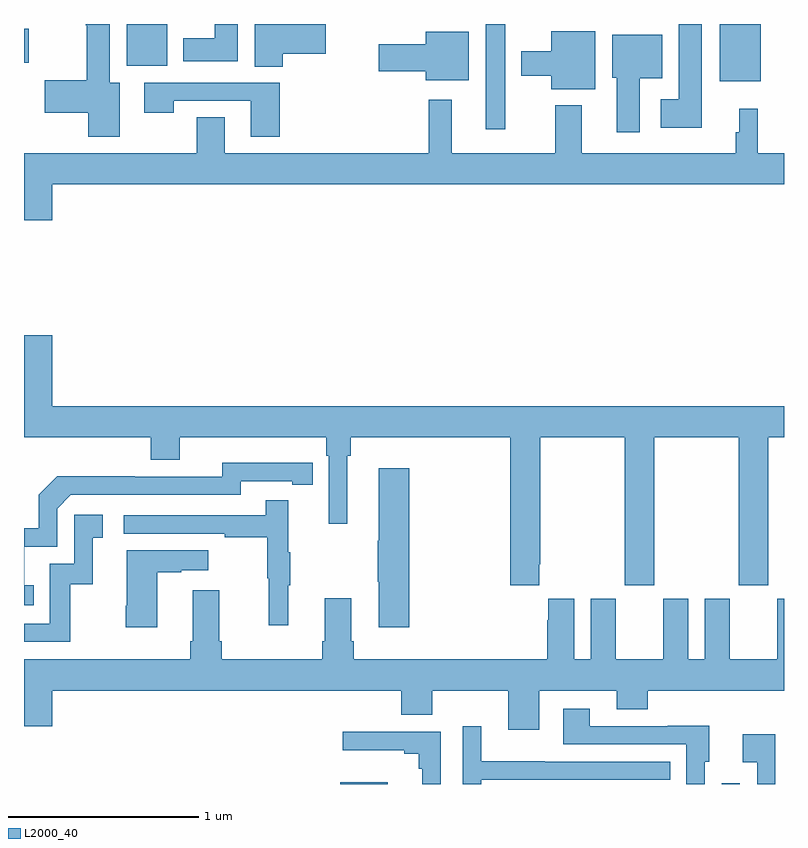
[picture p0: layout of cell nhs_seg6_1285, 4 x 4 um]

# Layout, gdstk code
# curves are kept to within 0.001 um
import gdstk
lib = gdstk.Library(unit=1e-6, precision=1e-09)
def R(c, l, rs):  # rectangles x0, y0, x1, y1
    for r in rs: c.add(gdstk.rectangle(r[:2], r[2:], *l))
def P(c, l, *ps):  # polygons
    for p in ps: c.add(gdstk.Polygon(p, *l))
L2000_40 = (2000, 40)

nhs_seg6_1285 = lib.new_cell('nhs_seg6_1285')
R(nhs_seg6_1285, L2000_40, [(190.664,957.5,190.915,957.508), (192.672,957.5,192.768,957.505), (191.429,960.945,191.533,961.5), (192.662,961.199,192.877,961.5), (189.542,961.28,189.754,961.5), (189,961.297,189.025,961.475)])
P(nhs_seg6_1285, L2000_40, [(189.505,961.192),(189.451,961.192),(189.451,961.5),(189.326,961.5),(189.326,961.493),(189.331,961.493),(189.331,961.205),(189.108,961.205),(189.108,961.034),(189.338,961.034),(189.338,960.906),(189.505,960.906)],
  [(190.361,961.343),(190.588,961.343),(190.588,961.5),(190.214,961.5),(190.214,961.276),(190.361,961.276)],
  [(192.568,961.5),(192.446,961.5),(192.446,961.105),(192.351,961.105),(192.351,960.953),(192.568,960.953)],
  [(190.126,961.5),(190.004,961.5),(190.004,961.426),(189.839,961.426),(189.839,961.304),(190.126,961.304)],
  [(192.007,961.462),(191.774,961.462),(191.774,961.357),(191.618,961.357),(191.618,961.228),(191.774,961.228),(191.774,961.157),(192.007,961.157)],
  [(191.341,961.459),(191.114,961.459),(191.114,961.394),(190.866,961.394),(190.866,961.252),(191.114,961.252),(191.114,961.205),(191.341,961.205)],
  [(192.241,961.214),(192.358,961.214),(192.358,961.444),(192.095,961.444),(192.095,961.218),(192.119,961.218),(192.119,960.93),(192.241,960.93)],
  [(190.346,961.191),(189.633,961.191),(189.633,961.032),(189.789,961.032),(189.789,961.095),(190.193,961.095),(190.193,960.906),(190.346,960.906)],
  [(189.148,960.656),(193,960.656),(193,960.82),(192.863,960.82),(192.863,961.054),(192.764,961.054),(192.764,960.929),(192.745,960.929),(192.745,960.82),(191.935,960.82),(191.935,961.072),(191.795,961.072),(191.795,960.82),(191.251,960.82),(191.251,961.102),(191.13,961.102),(191.13,960.82),(190.057,960.82),(190.057,961.01),(189.91,961.01),(189.91,960.82),(189,960.82),(189,960.468),(189.148,960.468)],
  [(189.148,959.863),(189,959.863),(189,959.324),(189.668,959.324),(189.668,959.207),(189.82,959.207),(189.82,959.324),(190.592,959.324),(190.592,959.228),(190.605,959.228),(190.605,958.869),(190.702,958.869),(190.702,959.228),(190.721,959.228),(190.721,959.324),(191.558,959.324),(191.558,958.545),(191.713,958.545),(191.713,958.657),(191.718,958.657),(191.718,959.324),(192.163,959.324),(192.163,958.545),(192.318,958.545),(192.318,959.324),(192.763,959.324),(192.763,958.545),(192.918,958.545),(192.918,959.324),(193,959.324),(193,959.488),(189.148,959.488)],
  [(189.05,958.545),(189.001,958.545),(189.001,958.749),(189.174,958.749),(189.174,958.95),(189.246,959.022),(190.14,959.022),(190.14,959.094),(190.412,959.094),(190.412,959.074),(190.52,959.074),(190.52,959.19),(190.044,959.191),(190.044,959.118),(189.584,959.118),(189.584,959.12),(189.176,959.12),(189.078,959.022),(189.078,958.845),(189,958.845),(189,958.44),(189.05,958.44)],
  [(191.027,959.161),(190.868,959.161),(190.868,958.781),(190.861,958.781),(190.861,958.564),(190.868,958.564),(190.868,958.326),(191.027,958.326)],
  [(190.391,958.547),(190.402,958.547),(190.402,958.721),(190.391,958.721),(190.391,958.993),(190.273,958.993),(190.273,958.914),(189.525,958.914),(189.525,958.818),(190.057,958.818),(190.057,958.798),(190.281,958.798),(190.281,958.584),(190.288,958.584),(190.288,958.335),(190.391,958.335)],
  [(189.244,958.551),(189.362,958.551),(189.362,958.797),(189.415,958.797),(189.415,958.918),(189.264,958.918),(189.264,958.659),(189.135,958.659),(189.135,958.344),(189,958.344),(189,958.248),(189.244,958.248)],
  [(189.7,958.615),(189.827,958.615),(189.827,958.625),(189.97,958.625),(189.97,958.729),(189.542,958.729),(189.542,958.438),(189.535,958.438),(189.535,958.326),(189.7,958.326)],
  [(191.713,957.992),(192.119,957.992),(192.119,957.893),(192.283,957.893),(192.283,957.992),(193,957.992),(193,958.474),(192.965,958.474),(192.965,958.156),(192.715,958.156),(192.715,958.474),(192.584,958.474),(192.584,958.156),(192.496,958.156),(192.496,958.474),(192.365,958.474),(192.365,958.156),(192.115,958.156),(192.115,958.474),(191.984,958.474),(191.984,958.156),(191.896,958.156),(191.896,958.474),(191.759,958.474),(191.759,958.361),(191.753,958.361),(191.753,958.156),(190.736,958.156),(190.736,958.252),(190.723,958.252),(190.723,958.477),(190.583,958.477),(190.583,958.252),(190.571,958.252),(190.571,958.156),(190.04,958.156),(190.04,958.252),(190.027,958.252),(190.027,958.519),(189.887,958.519),(189.887,958.252),(189.875,958.252),(189.875,958.156),(189,958.156),(189,957.804),(189.148,957.804),(189.148,957.992),(190.985,957.992),(190.985,957.864),(191.149,957.864),(191.149,957.992),(191.549,957.992),(191.549,957.786),(191.713,957.786)],
  [(192.582,957.618),(192.607,957.618),(192.607,957.806),(192.389,957.806),(192.389,957.804),(191.977,957.804),(191.977,957.895),(191.837,957.895),(191.837,957.708),(192.486,957.708),(192.486,957.5),(192.582,957.5)],
  [(191.406,957.522),(192.401,957.522),(192.401,957.618),(191.741,957.618),(191.741,957.619),(191.407,957.619),(191.407,957.805),(191.31,957.805),(191.31,957.5),(191.406,957.5)],
  [(191.193,957.774),(190.889,957.774),(190.889,957.776),(190.677,957.776),(190.677,957.677),(191,957.677),(191,957.658),(191.077,957.658),(191.077,957.581),(191.096,957.581),(191.096,957.5),(191.193,957.5)],
  [(192.955,957.763),(192.783,957.763),(192.783,957.614),(192.858,957.614),(192.858,957.5),(192.955,957.5)])

lib.write_gds('nhs_seg6_1285.gds')
